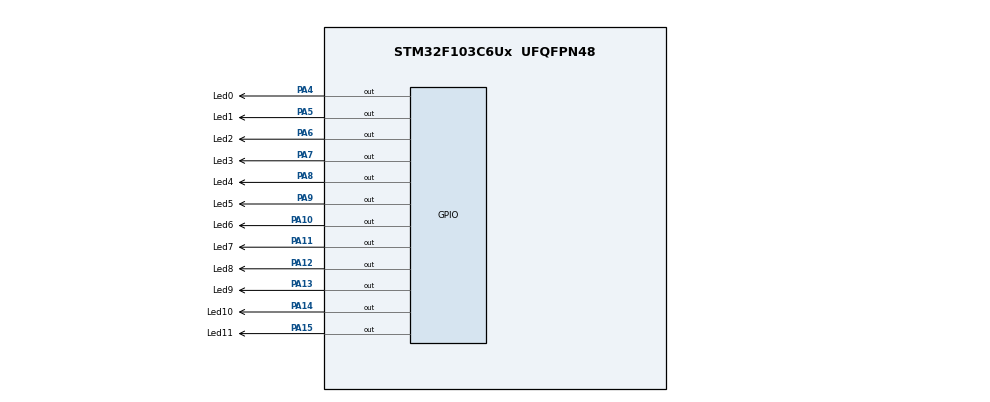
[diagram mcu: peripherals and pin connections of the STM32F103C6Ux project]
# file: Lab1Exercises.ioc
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Mcu.Family=STM32F1
Mcu.Name=STM32F103C6Ux
Mcu.Package=UFQFPN48
NVIC.PriorityGroup=NVIC_PRIORITYGROUP_4
PA10.GPIO_Label=Led6
PA10.Signal=GPIO_Output
PA11.GPIO_Label=Led7
PA11.Signal=GPIO_Output
PA12.GPIO_Label=Led8
PA12.Signal=GPIO_Output
PA13.GPIO_Label=Led9
PA13.Signal=GPIO_Output
PA14.GPIO_Label=Led10
PA14.Signal=GPIO_Output
PA15.GPIO_Label=Led11
PA15.Signal=GPIO_Output
PA4.GPIO_Label=Led0
PA4.Signal=GPIO_Output
PA5.GPIO_Label=Led1
PA5.Signal=GPIO_Output
PA6.GPIO_Label=Led2
PA6.Signal=GPIO_Output
PA7.GPIO_Label=Led3
PA7.Signal=GPIO_Output
PA8.GPIO_Label=Led4
PA8.Signal=GPIO_Output
PA9.GPIO_Label=Led5
PA9.Signal=GPIO_Output
ProjectManager.HeapSize=0x200
ProjectManager.StackSize=0x400
ProjectManager.TargetToolchain=STM32CubeIDE
RCC.APB1Freq_Value=8000000
RCC.APB2Freq_Value=8000000
VP_SYS_VS_ND.Mode=No_Debug
board=custom

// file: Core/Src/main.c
/* USER CODE BEGIN Header */
/**
  ******************************************************************************
  * @file           : main.c
  * @brief          : Main program body
  ******************************************************************************
  * @attention
  *
  * <h2><center>&copy; Copyright (c) 2023 STMicroelectronics.
  * All rights reserved.</center></h2>
  *
  * This software component is licensed by ST under BSD 3-Clause license,
  * the "License"; You may not use this file except in compliance with the
  * License. You may obtain a copy of the License at:
  *                        opensource.org/licenses/BSD-3-Clause
  *
  ******************************************************************************
  */
/* USER CODE END Header */
#include "main.h"

void SystemClock_Config(void);
static void MX_GPIO_Init(void);

int main(void)
{

  /* MCU Configuration--------------------------------------------------------*/

  /* Reset of all peripherals, Initializes the Flash interface and the Systick. */
  HAL_Init();

  /* Configure the system clock */
  SystemClock_Config();

  /* Initialize all configured peripherals */
  MX_GPIO_Init();

  /* Infinite loop */
  /* USER CODE BEGIN WHILE */
  while (1)
  {
	  for (int i = 0; i <= 11; i++){
		  for (int j = 0; j <=11; j++){
			  for (int k = 0; k <= 11; k++){
				  clearAllClock();
				  setNumberOnClock(i);
				  setNumberOnClock(j);
				  setNumberOnClock(k);
				  HAL_Delay(100);
			  }
		  }
	  }
    /* USER CODE END WHILE */

  }
}

void SystemClock_Config(void)
{
  RCC_OscInitTypeDef RCC_OscInitStruct = {0};
  RCC_ClkInitTypeDef RCC_ClkInitStruct = {0};

  /** Initializes the RCC Oscillators according to the specified parameters
  * in the RCC_OscInitTypeDef structure.
  */
  RCC_OscInitStruct.OscillatorType = RCC_OSCILLATORTYPE_HSI;
  RCC_OscInitStruct.HSIState = RCC_HSI_ON;
  RCC_OscInitStruct.HSICalibrationValue = RCC_HSICALIBRATION_DEFAULT;
  RCC_OscInitStruct.PLL.PLLState = RCC_PLL_NONE;
  if (HAL_RCC_OscConfig(&RCC_OscInitStruct) != HAL_OK)
  {
    Error_Handler();
  }
  /** Initializes the CPU, AHB and APB buses clocks
  */
  RCC_ClkInitStruct.ClockType = RCC_CLOCKTYPE_HCLK|RCC_CLOCKTYPE_SYSCLK
                              |RCC_CLOCKTYPE_PCLK1|RCC_CLOCKTYPE_PCLK2;
  RCC_ClkInitStruct.SYSCLKSource = RCC_SYSCLKSOURCE_HSI;
  RCC_ClkInitStruct.AHBCLKDivider = RCC_SYSCLK_DIV1;
  RCC_ClkInitStruct.APB1CLKDivider = RCC_HCLK_DIV1;
  RCC_ClkInitStruct.APB2CLKDivider = RCC_HCLK_DIV1;

  if (HAL_RCC_ClockConfig(&RCC_ClkInitStruct, FLASH_LATENCY_0) != HAL_OK)
  {
    Error_Handler();
  }
}

static void MX_GPIO_Init(void)
{
  GPIO_InitTypeDef GPIO_InitStruct = {0};

  /* GPIO Ports Clock Enable */
  __HAL_RCC_GPIOA_CLK_ENABLE();

  /*Configure GPIO pin Output Level */
  HAL_GPIO_WritePin(GPIOA, Led0_Pin|Led1_Pin|Led2_Pin|Led3_Pin
                          |Led4_Pin|Led5_Pin|Led6_Pin|Led7_Pin
                          |Led8_Pin|Led9_Pin|Led10_Pin|Led11_Pin, GPIO_PIN_RESET);

  /*Configure GPIO pins : Led0_Pin Led1_Pin Led2_Pin Led3_Pin
                           Led4_Pin Led5_Pin Led6_Pin Led7_Pin
                           Led8_Pin Led9_Pin Led10_Pin Led11_Pin */
  GPIO_InitStruct.Pin = Led0_Pin|Led1_Pin|Led2_Pin|Led3_Pin
                          |Led4_Pin|Led5_Pin|Led6_Pin|Led7_Pin
                          |Led8_Pin|Led9_Pin|Led10_Pin|Led11_Pin;
  GPIO_InitStruct.Mode = GPIO_MODE_OUTPUT_PP;
  GPIO_InitStruct.Pull = GPIO_NOPULL;
  GPIO_InitStruct.Speed = GPIO_SPEED_FREQ_LOW;
  HAL_GPIO_Init(GPIOA, &GPIO_InitStruct);

}

/* USER CODE BEGIN 4 */
void clearAllClock(){
	HAL_GPIO_WritePin(GPIOA, Led0_Pin | Led1_Pin | Led2_Pin |Led3_Pin | Led4_Pin | Led5_Pin | Led6_Pin | Led7_Pin | Led8_Pin | Led9_Pin | Led10_Pin | Led11_Pin , SET);
}
void setNumberOnClock(int num){
	switch(num){
	case 0:
		HAL_GPIO_WritePin(Led0_GPIO_Port, Led0_Pin, RESET);
		break;
	case 1:
		HAL_GPIO_WritePin(Led1_GPIO_Port, Led1_Pin, RESET);
		break;
	case 2:
		HAL_GPIO_WritePin(Led2_GPIO_Port, Led2_Pin, RESET);
		break;
	case 3:
		HAL_GPIO_WritePin(Led3_GPIO_Port, Led3_Pin, RESET);
		break;
	case 4:
		HAL_GPIO_WritePin(Led4_GPIO_Port, Led4_Pin, RESET);
		break;
	case 5:
		HAL_GPIO_WritePin(Led5_GPIO_Port, Led5_Pin, RESET);
		break;
	case 6:
		HAL_GPIO_WritePin(Led6_GPIO_Port, Led6_Pin, RESET);
		break;
	case 7:
		HAL_GPIO_WritePin(Led7_GPIO_Port, Led7_Pin, RESET);
		break;
	case 8:
		HAL_GPIO_WritePin(Led8_GPIO_Port, Led8_Pin, RESET);
		break;
	case 9:
		HAL_GPIO_WritePin(Led9_GPIO_Port, Led9_Pin, RESET);
		break;
	case 10:
		HAL_GPIO_WritePin(Led10_GPIO_Port, Led10_Pin, RESET);
		break;
	case 11:
		HAL_GPIO_WritePin(Led11_GPIO_Port, Led11_Pin, RESET);
		break;
	}
}
/* USER CODE END 4 */

void Error_Handler(void)
{
  __disable_irq();
  while (1)
  {
  }
}

/************************ (C) COPYRIGHT STMicroelectronics *****END OF FILE****/
